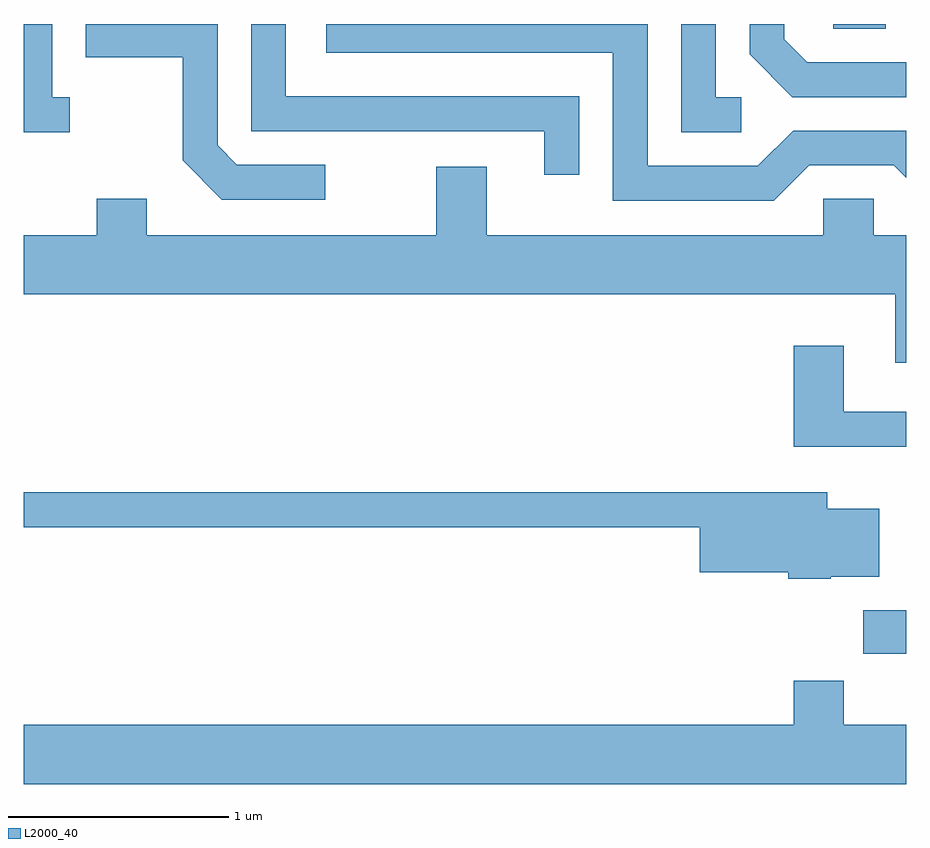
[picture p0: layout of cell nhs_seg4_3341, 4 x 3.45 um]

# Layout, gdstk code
import gdstk
lib = gdstk.Library(unit=1e-6, precision=1e-09)
def R(c, l, rs):  # rectangles x0, y0, x1, y1
    for r in rs: c.add(gdstk.rectangle(r[:2], r[2:], *l))
def P(c, l, *ps):  # polygons
    for p in ps: c.add(gdstk.Polygon(p, *l))
L2000_40 = (2000, 40)

nhs_seg4_3341 = lib.new_cell('nhs_seg4_3341')
R(nhs_seg4_3341, L2000_40, [(287.416,1273.126,287.611,1273.324), (287.281,1275.961,287.519,1275.982)])
P(nhs_seg4_3341, L2000_40, [(286.863,1275.649),(286.749,1275.649),(286.749,1275.982),(286.591,1275.982),(286.591,1275.491),(286.863,1275.491)],
  [(287.611,1275.809),(287.162,1275.809),(287.059,1275.912),(287.059,1275.982),(286.901,1275.982),(286.901,1275.844),(287.094,1275.651),(287.611,1275.651)],
  [(287.172,1275.341),(287.554,1275.341),(287.611,1275.284),(287.611,1275.499),(287.099,1275.499),(286.939,1275.339),(286.439,1275.339),(286.439,1275.982),(284.981,1275.982),(284.981,1275.851),(286.281,1275.851),(286.281,1275.181),(287.012,1275.181)],
  [(286.129,1275.654),(284.799,1275.654),(284.799,1275.982),(284.641,1275.982),(284.641,1275.496),(285.971,1275.496),(285.971,1275.298),(286.129,1275.298)],
  [(283.818,1275.649),(283.739,1275.649),(283.739,1275.982),(283.611,1275.982),(283.611,1275.491),(283.818,1275.491)],
  [(284.978,1275.344),(284.577,1275.344),(284.489,1275.432),(284.489,1275.982),(283.891,1275.982),(283.891,1275.831),(284.331,1275.831),(284.331,1275.364),(284.509,1275.186),(284.978,1275.186)],
  [(287.611,1275.024),(287.464,1275.024),(287.464,1275.189),(287.236,1275.189),(287.236,1275.024),(285.709,1275.024),(285.709,1275.334),(285.481,1275.334),(285.481,1275.024),(284.169,1275.024),(284.169,1275.189),(283.941,1275.189),(283.941,1275.024),(283.611,1275.024),(283.611,1274.756),(287.561,1274.756),(287.561,1274.446),(287.611,1274.446)],
  [(287.611,1274.224),(287.329,1274.224),(287.329,1274.524),(287.101,1274.524),(287.101,1274.066),(287.611,1274.066)],
  [(287.27,1273.476),(287.489,1273.476),(287.489,1273.784),(287.254,1273.784),(287.254,1273.859),(283.611,1273.859),(283.611,1273.701),(286.676,1273.701),(286.676,1273.496),(287.076,1273.496),(287.076,1273.466),(287.27,1273.466)],
  [(287.611,1272.804),(287.329,1272.804),(287.329,1273.004),(287.101,1273.004),(287.101,1272.804),(283.611,1272.804),(283.611,1272.536),(287.611,1272.536)])

lib.write_gds('nhs_seg4_3341.gds')
